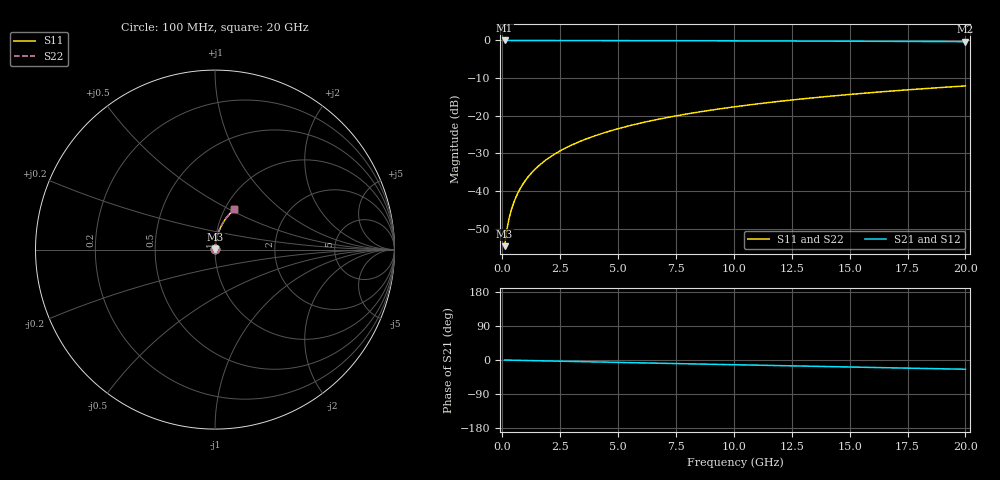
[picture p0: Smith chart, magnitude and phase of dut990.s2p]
! Touchstone file exported from HFSS 2026.1.0
!  File:  C:/ffzhzh/LocalFiles/Ansys_Project_Files/temp_train_BSMRDL_990_1783172918_55132.aedt
!  Generated:  09:49:57 PM Jul  4, 2026
!  Design:  BSMRDL
!  Project:  temp_train_BSMRDL_990_1783172918_55132
! Variables:
!  h_bsmrdl = 4.73um
!  h_ox = 20um
!  h_rdl = 5um
!  h_sub = 80um
!  h_tmrdl = 5um
!  h_tsv = 80um
!  h_via = 3um
!  l_bsmrdl = 311.57um
!  l_sub = 711.57um
!  l_tmrdl = 200um
!  m_sub = 200um
!  pitch = 57.54um
!  r_tsv = 6um
!  s_tmrdl = 10um
!  w_bsmrdl = 24.6um
!  w_sub = 500um
!  w_tmrdl = 12um
!  x_tsv_center1 = 206um
!  x_tsv_center2 = 542.17um
!  x_tsv_center3 = 754.17um
!  x_tsv_center4 = 1090.34um
!  x_tsv_center5 = 1302.34um
!  x_tsv_center6 = 1638.51um
# GHz S MA R 50.000000
! Terminal data exported
! Port[1] = BSM_RDL1_1_T1
! Port[2] = BSM_RDL1_1_T2
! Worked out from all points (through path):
!   200 points, 100 MHz to 20 GHz, reference 50 ohm
!   highest |S21| = -0.01 dB at 100 MHz (marker M1); lowest = -0.3 dB at 20 GHz (marker M2)
!   group delay of S21, straight-line fit = 3.39 ps
!   lowest |S11| = -54.7 dB at 100 MHz (marker M3), VSWR 1.00, Z = 50.1 + j0.147 ohm
!   |S11| at or under -10 dB: start of sweep to end of sweep
!   |S22| runs from -54.7 to -12.1 dB; largest |S21 - S12| = 2.7e-15
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0.1  0.001849 52.4  0.9989 -0.1  0.9989 -0.1  0.001849 52.4
! Gamma 0 0 0 0
! Port Impedance 50 0 50 0
0.2  0.003115 67.1  0.9988 -0.3  0.9988 -0.3  0.003115 67.1
0.3  0.004428 73.1  0.9987 -0.4  0.9987 -0.4  0.004428 73.1
0.4  0.005752 76.5  0.9987 -0.5  0.9987 -0.5  0.005752 76.5
0.5  0.007087 78.6  0.9987 -0.6  0.9987 -0.6  0.007087 78.6
0.7  0.009778 81.1  0.9986 -0.9  0.9986 -0.9  0.009778 81.1
0.8  0.01113 81.8  0.9986 -1.0  0.9986 -1.0  0.01113 81.8
1  0.01384 82.8  0.9985 -1.3  0.9985 -1.3  0.01384 82.8
1.2  0.01655 83.4  0.9984 -1.5  0.9984 -1.5  0.01655 83.4
1.4  0.01927 83.7  0.9983 -1.8  0.9983 -1.8  0.01927 83.7
1.7  0.02333 83.9  0.9981 -2.2  0.9981 -2.2  0.02333 83.9
2  0.02739 83.9  0.9979 -2.6  0.9979 -2.6  0.02739 83.9
2.7  0.03681 83.5  0.9974 -3.4  0.9974 -3.4  0.03681 83.5
3.5  0.04747 82.9  0.9966 -4.5  0.9966 -4.5  0.04747 82.9
4.2  0.05672 82.1  0.9959 -5.3  0.9959 -5.3  0.05672 82.1
5  0.0672 81.3  0.995 -6.3  0.995 -6.3  0.0672 81.3
6.8  0.09048 79.3  0.9925 -8.6  0.9925 -8.6  0.09048 79.3
8.3  0.1096 77.6  0.9902 -10.4  0.9902 -10.4  0.1096 77.6
10.1  0.1322 75.6  0.987 -12.6  0.987 -12.6  0.1322 75.6
13.4  0.1726 71.8  0.9802 -16.6  0.9802 -16.6  0.1726 71.8
16.7  0.2115 68.0  0.9721 -20.5  0.9721 -20.5  0.2115 68.0
20  0.2485 64.3  0.9629 -24.4  0.9629 -24.4  0.2485 64.3
